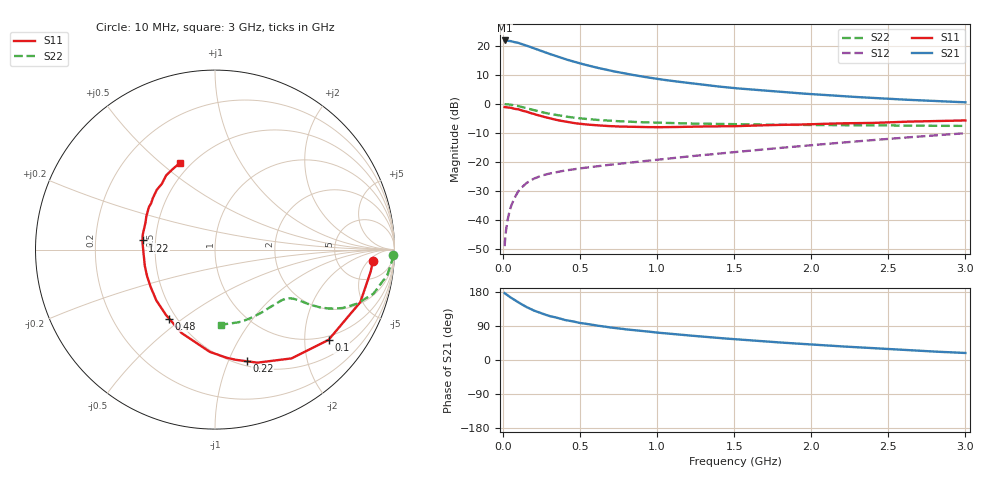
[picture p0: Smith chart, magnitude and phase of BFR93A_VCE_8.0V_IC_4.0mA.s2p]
! Infineon Technologies  Discrete & RF Semiconductors
! BFR93A
! VCE =  8.0 V,  IC =  4.0 mA
! Common Emitter S-Parameters:  Nov 2015
# GHz  S  MA  R  50
!  f  S11  S21  S12  S22
! GHz  MAG  ANG  MAG  ANG  MAG  ANG  MAG  ANG
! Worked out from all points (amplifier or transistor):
!   180 points, 10 MHz to 3 GHz, reference 50 ohm
!   highest |S21| = 21.8 dB at 10 MHz (marker M1)
!   |S21| within 3 dB of that: start of sweep to 216.7 MHz
!   unconditionally stable (mu >= 1): 828.2 MHz to 2.484 GHz
!   at 160 MHz: K = 0.29, MSG = 23.4 dB, |S12| = -26.9 dB
!   at 1.22 GHz: K = 1.11, MAG = 10.5 dB, |S12| = -18.0 dB
!   at 3 GHz: K = 0.91, MSG = 5.3 dB, |S12| = -10.1 dB
!   S11 on the Smith chart (normalised r, x): 10 MHz: 12, -7; 100 MHz: 0.89, -2.59; 220 MHz: 0.55, -1.17; 480 MHz: 0.46, -0.45; 1.22 GHz: 0.42, +0.05; 3 GHz: 0.44, +0.58
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0.01  0.8821 -4.0  12.3 176.6  0.0036 86.9  0.9922 -1.8
0.025  0.871 -9.9  12.19 172.1  0.0086 83.2  0.9854 -4.2
0.05  0.861 -19.9  11.98 164.7  0.0169 79.4  0.9707 -8.4
0.1  0.8082 -38.5  11.16 151.7  0.0318 70.4  0.9166 -15.5
0.15  0.741 -54.9  10.1 140.0  0.0433 63.0  0.8466 -20.9
0.2  0.673 -69.4  9.057 130.5  0.052 58.0  0.7822 -24.6
0.22  0.6464 -74.2  8.644 127.5  0.0546 56.3  0.7589 -25.5
0.24  0.6246 -79.4  8.257 124.2  0.0573 54.7  0.7359 -26.5
0.26  0.605 -84.1  7.904 121.3  0.0596 53.5  0.715 -27.3
0.3  0.5702 -93.0  7.254 116.2  0.0635 51.7  0.6778 -28.6
0.4  0.501 -111.7  5.898 105.7  0.0715 49.6  0.6085 -30.1
0.48  0.4618 -123.6  5.128 99.5  0.0768 48.9  0.5728 -30.7
0.52  0.4491 -129.2  4.801 96.6  0.0793 48.9  0.5578 -31.0
0.6  0.4322 -139.2  4.242 91.3  0.0843 49.4  0.5334 -31.5
0.7  0.4148 -149.6  3.707 85.6  0.0906 50.4  0.5124 -32.2
0.88  0.4018 -165.1  3.023 77.5  0.1017 52.6  0.487 -34.0
1.02  0.3985 -175.3  2.645 71.6  0.1112 54.0  0.4746 -35.7
1.22  0.407 172.8  2.263 64.3  0.1263 56.0  0.4607 -38.9
1.52  0.4158 158.5  1.849 54.3  0.1501 58.1  0.4469 -44.6
2.02  0.4503 140.0  1.461 40.5  0.1972 59.2  0.4336 -56.2
2.52  0.4851 125.5  1.217 28.6  0.2532 57.6  0.4262 -69.8
3  0.5207 112.3  1.065 18.5  0.314 54.1  0.4192 -85.4
